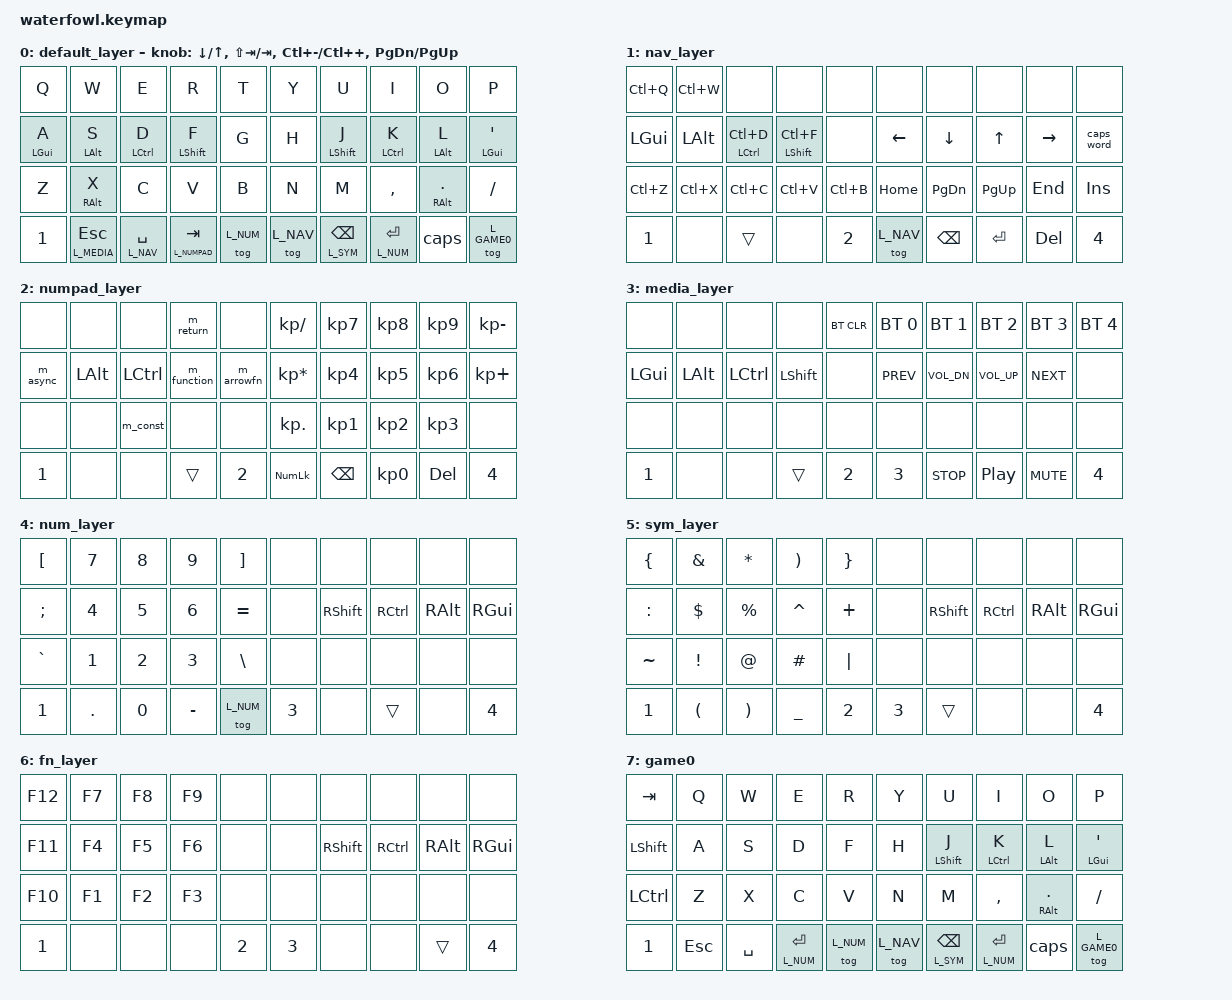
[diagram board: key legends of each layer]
/*
 * Copyright (c) 2022 The ZMK Contributors
 *
 * SPDX-License-Identifier: MIT
 */

#include <behaviors.dtsi>
#include <dt-bindings/zmk/keys.h>
#include <dt-bindings/zmk/bt.h>

// Uncomment to overwrite default values
// #define ZMK_POINTING_DEFAULT_MOVE_VAL 600
// #define ZMK_POINTING_DEFAULT_SCRL_VAL 10 
#include <dt-bindings/zmk/pointing.h>

/* Layers */
#define L_DFT 0
#define L_NAV 1
#define L_NUMPAD 2
#define L_MEDIA 3
#define L_NUM 4
#define L_SYM 5
#define L_FUN 6
#define L_GAME0 7

&sk {
	quick-release;
};

/ {
	behaviors {
		hh: behavior_homerow_hold {
			compatible = "zmk,behavior-hold-tap";
			label = "HOMEROW_HOLD";
			#binding-cells = <2>;
			flavor = "tap-preferred";
			tapping-term-ms = <200>;
			bindings = <&kp>, <&kp>;
		};
		lh: behavior_layer_hold {
			compatible = "zmk,behavior-hold-tap";
			label = "LAYER_HOLD";
			#binding-cells = <2>;
			flavor = "hold-preferred";
			tapping-term-ms = <200>;
			bindings = <&mo>, <&kp>;
		};
		lhs: behavior_layer_hold_sticky {
			compatible = "zmk,behavior-hold-tap";
			label = "LAYER_HOLD_STICKY";
			#binding-cells = <2>;
			flavor = "hold-preferred";
			tapping-term-ms = <200>;
			bindings = <&mo>, <&sk>;
		};
		caps: caps_char_word {
			compatible = "zmk,behavior-tap-dance";
			label = "TAP_DANCE_0";
			#binding-cells = <0>;
			tapping-term-ms = <200>;
			bindings = <&lhs L_FUN LSHFT>, <&caps_word>;
		};
	};
	macros {
		m_arrowfn: m_arrowfn {
			compatible = "zmk,behavior-macro";
			#binding-cells = <0>;
			bindings = <&macro_tap &kp EQUAL &kp LS(DOT) &kp SPACE>;
		};
		m_async: m_async {
			compatible = "zmk,behavior-macro";
			#binding-cells = <0>;
			bindings = <&macro_tap &kp A &kp S &kp Y &kp N &kp C &kp SPACE>;
		};
		m_const: m_const {
			compatible = "zmk,behavior-macro";
			#binding-cells = <0>;
			bindings = <&macro_tap &kp C &kp O &kp N &kp S &kp T &kp SPACE>;
		};
		m_function: m_function {
			compatible = "zmk,behavior-macro";
			#binding-cells = <0>;
			bindings = <&macro_tap &kp F &kp U &kp N &kp C &kp T &kp I &kp O &kp N &kp SPACE>;
		};
		m_return: m_return {
			compatible = "zmk,behavior-macro";
			#binding-cells = <0>;
			bindings = <&macro_tap &kp R &kp E &kp T &kp U &kp R &kp N &kp SPACE>;
		};
	};
	keymap {
		compatible = "zmk,keymap";

		default_layer {
/* L_DFT
 *
 * ,----------------------------------.                      ,----------------------------------.
 * |   Q  |   W  |   E  |   R  |   T  |                      |   Y  |   U  |   I  |   O  |   P  |
 * |------+------+------+------+------|                      |------+------+------+------+------|
 * |   A  |   S  |   D  |   F  |   G  |                      |   H  |   J  |   K  |   L  |   '  |
 * |------+------+------+------+------|  ,-----.    ,-----.  |------+------+------+------+------|
 * |   Z  |   X  |   C  |   V  |   B  |  | Num |    | Nav |  |   N  |   M  |   ,  |   .  |   /  |
 * `----------------------------------'  `-----'    `-----'  `----------------------------------'
 *          ,-----.   ,--------------------.            ,--------------------.   ,-----.
 *          |  1  |   | ESC | SPACE | TAB  |            |  BS | ENTER | Caps |   | Game|
 *          `-----'   `--------------------'            `--------------------'   `-----'
 */
			bindings = <
	&kp Q		&kp W		&kp E		&kp R		&kp T			&kp Y	&kp U		&kp I		&kp O		&kp P
	&hh LGUI A	&hh LALT S	&hh LCTRL D	&hh LSHFT F	&kp G			&kp H	&hh LSHFT J	&hh LCTRL K	&hh LALT L	&hh LGUI APOS
	&kp Z		&hh RALT X	&kp C		&kp V		&kp B			&kp N	&kp M		&kp COMMA	&hh RALT DOT	&kp FSLH
	&kp N1	&lh L_MEDIA ESC	&lh L_NAV SPACE	&lh L_NUMPAD TAB	&tog L_NUM	&tog L_NAV	&lh L_SYM BSPC	&lh L_NUM RET	&caps	&tog L_GAME0
			>;

			sensor-bindings = <
				&inc_dec_kp DOWN UP
				&inc_dec_kp LS(TAB) TAB
				&inc_dec_kp LC(MINUS) LC(PLUS)
				&inc_dec_kp PAGE_DOWN PAGE_UP
			>;
		};

		nav_layer {
/* 1 L_NAV
 *
 * ,----------------------------------.                      ,----------------------------------.
 * |  ^Q  |  ^W  |      |      |      |                      |      |      |      |      |      |
 * |------+------+------+------+------|                      |------+------+------+------+------|
 * |  CMD |  ALT |  ^D  |  ^F  |      |                      | Left | Down |  Up  | Right| CAPSW|
 * |------+------+------+------+------|  ,-----.    ,-----.  |------+------+------+------+------|
 * |  ^Z  |  ^X  |  ^C  |  ^V  |  ^B  |  |  2  |    |  3  |  | Home | PgDn | PgUp | End  | Ins  |
 * `----------------------------------'  `-----'    `-----'  `----------------------------------'
 *          ,-----.   ,--------------------.            ,--------------------.   ,-----.
 *          |  1  |   |     |  (*)  |      |            |  BS  | ENTER | DEL |   |  4  |
 *          `-----'   `--------------------'            `--------------------'   `-----'
 */
			bindings = <
	&kp LC(Q)	&kp LC(W)	&none		        &none	            &none		&none		&none		&none		&none		&none
	&kp LGUI 	&kp LALT	&mt LCTRL LC(D)	&mt LSHFT LC(F)	&none	    &kp LEFT	&kp DOWN	&kp UP		&kp RIGHT	&caps_word
	&kp LC(Z)	&kp LC(X)	&kp LC(C)	        &kp LC(V)	        &kp LC(B)	&kp HOME	&kp PG_DN	&kp PG_UP	&kp END		&kp INS
	&kp N1		&none		&trans		        &none		        &kp N2		&tog L_NAV	&kp BSPC	&kp RET		&kp DEL		&kp N4
			>;
		};

		numpad_layer {
/* 2 L_NUMPAD
 *
 * ,----------------------------------.                      ,----------------------------------.
 * |      |      |      |return|      |                      |  /   |  7   |  8   |  9   |  -   |
 * |------+------+------+------+------|                      |------+------+------+------+------|
 * | async|  ALT | CTRL | func |  =>  |                      |  *   |  4   |  5   |  6   |  +   |
 * |------+------+------+------+------|  ,-----.    ,-----.  |------+------+------+------+------|
 * |      |      | const|      |      |  |  2  |    |NLock|  |  .   |  1   |  2   |  3   |      |
 * `----------------------------------'  `-----'    `-----'  `----------------------------------'
 *          ,-----.   ,--------------------.            ,--------------------.   ,-----.
 *          |  1  |   |     |       |  (*) |            |  BS  |   0   | DEL |   |  4  |
 *          `-----'   `--------------------'            `--------------------'   `-----'
 */
			bindings = <
	&none		&none		&none		&m_return		&none			&kp KP_DIVIDE	&kp KP_N7	&kp KP_N8	&kp KP_N9	&kp KP_MINUS
	&m_async 	&kp LALT	&kp LCTRL	&m_function	&m_arrowfn	&kp KP_MULTIPLY	&kp KP_N4	&kp KP_N5	&kp KP_N6	&kp KP_PLUS
	&none		&none		&m_const	&none			&none			&kp KP_DOT		&kp KP_N1	&kp KP_N2	&kp KP_N3	&none
	&kp N1		&none		&none		&trans			&kp N2			&kp KP_NUMLOCK	&kp BSPC	&kp KP_N0	&kp DEL	&kp N4
			>;
		};

		media_layer {
/* 3 L_MEDIA
 *
 * ,----------------------------------.                      ,----------------------------------.
 * |      |      |      |      | BTCLR|                      | BT 0 | BT 1 | BT 2 | BT 3 | BT 4 |
 * |------+------+------+------+------|                      |------+------+------+------+------|
 * |  CMD |  ALT | CTRL | Shift|      |                      | Prev | VoDn | VoUp | Next |      |
 * |------+------+------+------+------|  ,-----.    ,-----.  |------+------+------+------+------|
 * |      |      |      |      |      |  |  2  |    |  3  |  |      |      |      |      |      |
 * `----------------------------------'  `-----'    `-----'  `----------------------------------'
 *          ,-----.   ,--------------------.            ,--------------------.   ,-----.
 *          |  1  |   | (*) |       |      |            | STOP | PLAY | MUTE |   |  4  |
 *          `-----'   `--------------------'            `--------------------'   `-----'
 */
			bindings = <
	&none		&none		&none		&none		&bt BT_CLR		&bt BT_SEL 0	&bt BT_SEL 1	&bt BT_SEL 2	&bt BT_SEL 3	&bt BT_SEL 4
	&kp LGUI 	&kp LALT	&kp LCTRL	&kp LSHFT	&none			&kp C_PREV	&kp C_VOL_DN	&kp C_VOL_UP	&kp C_NEXT	&none
	&none		&none		&none		&none		&none			&none		&none			&none			&none		&none
	&kp N1		&none		&none		&trans		&kp N2			&kp N3		&kp C_STOP		&kp C_PP		&kp C_MUTE	&kp N4
			>;
		};

		num_layer {
/* 4 L_NUM
 *
 * ,----------------------------------.                      ,----------------------------------.
 * |  [   |  7   |  8   |  9   |  ]   |                      |      |      |      |      |      |
 * |------+------+------+------+------|                      |------+------+------+------+------|
 * |  ;   |  4   |  5   |  6   |  =   |                      |      | Shift| CTRL | ALT  | CMD  |
 * |------+------+------+------+------|  ,-----.    ,-----.  |------+------+------+------+------|
 * |  `   |  1   |  2   |  3   |  \   |  |  2  |    |  3  |  |      |      |      |      |      |
 * `----------------------------------'  `-----'    `-----'  `----------------------------------'
 *          ,-----.   ,--------------------.            ,--------------------.   ,-----.
 *          |  1  |   |  .  |   0   |  -   |            |      | (*)  |      |   |  4  |
 *          `-----'   `--------------------'            `--------------------'   `-----'
 */
			bindings = <
	&kp LBKT	&kp N7	&kp N8	&kp N9		&kp RBKT		&none		&none		&none		&none		&none
	&kp SEMI 	&kp N4	&kp N5	&kp N6		&kp EQUAL		&none		&kp RSHFT	&kp RCTRL	&kp RALT	&kp RGUI
	&kp GRAVE	&kp N1	&kp N2	&kp N3		&kp BSLH		&none		&none		&none		&none		&none
	&kp N1		&kp DOT	&kp N0	&kp MINUS	&tog L_NUM		&kp N3		&none		&trans		&none		&kp N4
			>;
		};

		sym_layer {
/* 5 L_SYM
 *
 * ,----------------------------------.                      ,----------------------------------.
 * |  {   |  &   |  *   |  )   |  }   |                      |      |      |      |      |      |
 * |------+------+------+------+------|                      |------+------+------+------+------|
 * |  :   |  $   |  %   |  ^   |  +   |                      |      | Shift| CTRL | ALT  | CMD  |
 * |------+------+------+------+------|  ,-----.    ,-----.  |------+------+------+------+------|
 * |  ~   |  !   |  @   |  #   |  |   |  |  2  |    |  3  |  |      |      |      |      |      |
 * `----------------------------------'  `-----'    `-----'  `----------------------------------'
 *          ,-----.   ,--------------------.            ,--------------------.   ,-----.
 *          |  1  |   |  (  |   )   |  _   |            |  (*)  |      |     |   |  4  |
 *          `-----'   `--------------------'            `--------------------'   `-----'
 */
			bindings = <
	&kp LBRC	&kp AMPS	&kp STAR	&kp RPAR	&kp RBRC		&none		&none		&none		&none		&none
	&kp COLON 	&kp DLLR	&kp PRCNT	&kp CARET	&kp PLUS		&none		&kp RSHFT	&kp RCTRL	&kp RALT	&kp RGUI
	&kp TILDE	&kp EXCL	&kp AT		&kp HASH	&kp PIPE		&none		&none		&none		&none		&none
	&kp N1		&kp LPAR	&kp RPAR	&kp UNDER	&kp N2			&kp N3		&trans		&none		&none		&kp N4
			>;
		};

		fn_layer {
/* 6 L_FUN
 *
 * ,----------------------------------.                      ,----------------------------------.
 * |  F12 |  F7  |  F8  |  F9  |      |                      |      |      |      |      |      |
 * |------+------+------+------+------|                      |------+------+------+------+------|
 * |  F11 |  F4  |  F5  |  F6  |      |                      |      | Shift| CTRL | ALT  | CMD  |
 * |------+------+------+------+------|  ,-----.    ,-----.  |------+------+------+------+------|
 * |  F10 |  F1  |  F2  |  F3  |      |  |  2  |    |  3  |  |      |      |      |      |      |
 * `----------------------------------'  `-----'    `-----'  `----------------------------------'
 *          ,-----.   ,--------------------.            ,--------------------.   ,-----.
 *          |  1  |   |     |       |      |            |      |       | (*) |   |  4  |
 *          `-----'   `--------------------'            `--------------------'   `-----'
 */
			bindings = <
	&kp F12	&kp F7	&kp F8	&kp F9	&none		&none		&none		&none		&none		&none
	&kp F11	&kp F4	&kp F5	&kp F6	&none		&none		&kp RSHFT	&kp RCTRL	&kp RALT	&kp RGUI
	&kp F10	&kp F1	&kp F2	&kp F3	&none		&none		&none		&none		&none		&none
	&kp N1	&none	&none	&none	&kp N2		&kp N3		&none		&none		&trans		&kp N4
			>;
		};

		game0 {
/* L_GAME0
 *
 * ,----------------------------------.                      ,----------------------------------.
 * | Tab  |   Q  |   W  |   E  |   R  |                      |   Y  |   U  |   I  |   O  |   P  |
 * |------+------+------+------+------|                      |------+------+------+------+------|
 * | Shift|   A  |   S  |   D  |   F  |                      |   H  |   J  |   K  |   L  |   '  |
 * |------+------+------+------+------|  ,-----.    ,-----.  |------+------+------+------+------|
 * | Ctrl |   Z  |   X  |   C  |   V  |  | Num |    | Nav |  |   N  |   M  |   ,  |   .  |   /  |
 * `----------------------------------'  `-----'    `-----'  `----------------------------------'
 *          ,-----.   ,--------------------.            ,--------------------.   ,-----.
 *          |  1  |   | ESC | SPACE | ENTER|            |  BS | ENTER | Caps |   | Game|
 *          `-----'   `--------------------'            `--------------------'   `-----'
 */
			bindings = <
	&kp TAB		&kp Q	&kp W		&kp E	&kp R					&kp Y	&kp U		&kp I		&kp O		&kp P
	&kp LSHFT	&kp A	&kp S		&kp D	&kp F					&kp H	&hh LSHFT J	&hh LCTRL K	&hh LALT L	&hh LGUI APOS
	&kp LCTRL	&kp Z	&kp X		&kp C	&kp V					&kp N	&kp M		&kp COMMA	&hh RALT DOT	&kp FSLH
	&kp N1		&kp ESC	&kp SPACE	&lh L_NUM RET	&tog L_NUM		&tog L_NAV	&lh L_SYM BSPC	&lh L_NUM RET	&caps	&tog L_GAME0
			>;
		};

	};
};
/* vim:ft=dts:ts=4:sw=4:noet
*/
